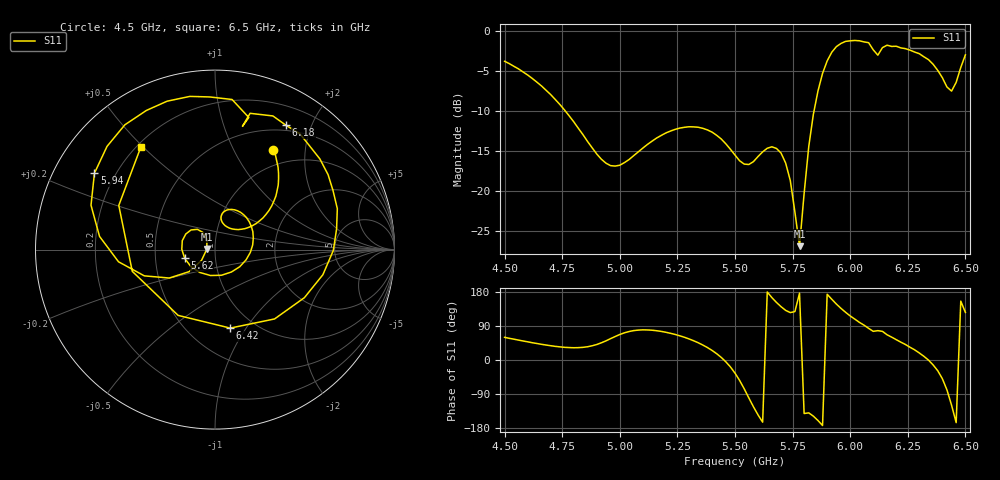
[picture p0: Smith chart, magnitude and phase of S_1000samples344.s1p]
! TOUCHSTONE file generated by CST MICROWAVE STUDIO
! Date and time: Thu Oct 27 20:35:31 2022
! Project name: L.cst
! Parameters = {Di=1.27; Epsilon_r=1.56; InnerDiameter=1.27; Length=2; Lf=10; Lg=60; OuterConductorThickness=0.2921; OuterDiameter=3.6; Wf=3; Wp=41.2; de=1.5; df=6.8; g=0.8; gx=1.25128; gy=2.86632; h=2.34; hf=1.524; px=13.2076; py=8.06898; w=9.7; wx=11.9563; wy=5.20266}
! Header version: 2018
! Port assignment regex: !\s*Touchstone port\s*([0-9]+)\s*=\s*(CST MWS port|CST DS port)\s*([0-9]+|Zmin|Zmax)\s*\(\"(.*)\"\)(\s*mode\s*([0-9]+))?.*
! Touchstone port assignment:
! Touchstone port 1 = CST MWS port 1 ("")
# GHz S DB R 50
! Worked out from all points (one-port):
!   101 points, 4.5 GHz to 6.5 GHz, reference 50 ohm
!   lowest |S11| = -26.9 dB at 5.78 GHz (marker M1), VSWR 1.10, Z = 45.7 + j0.271 ohm
!   |S11| at or under -10 dB: 4.763 GHz to 5.843 GHz (1.08 GHz wide, 20.4 % of centre)
!   S11 on the Smith chart (normalised r, x): 4.5 GHz: 0.76, +1.45; 5.62 GHz: 0.71, -0.07; 5.94 GHz: 0.12, +0.29; 6.18 GHz: 0.43, +1.64; 6.42 GHz: 0.78, -0.85; 6.5 GHz: 0.22, +0.49
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4.5  -3.82 59.8
4.76  -9.89 33.4
4.92  -16.02 45.5
5  -16.77 67.3
5.26  -12.15 63.9
5.42  -13.03 16.8
5.5  -15.51 -34.6
5.62  -15.11 -164.1
5.7  -15.26 140.6
5.76  -22.61 127.8
5.78  -26.86 176.3
5.82  -14.48 -139.5
5.86  -7.54 -159.6
5.9  -3.78 173.5
5.94  -1.99 147.6
6  -1.27 116.3
6.06  -1.40 92.0
6.1  -2.39 75.6
6.14  -2.11 75.6
6.18  -1.96 60.3
6.26  -2.43 33.5
6.36  -4.19 -13.1
6.4  -5.86 -49.4
6.42  -7.02 -79.0
6.44  -7.53 -119.3
6.46  -6.44 -165.3
6.48  -4.58 155.3
6.5  -3.01 125.7
